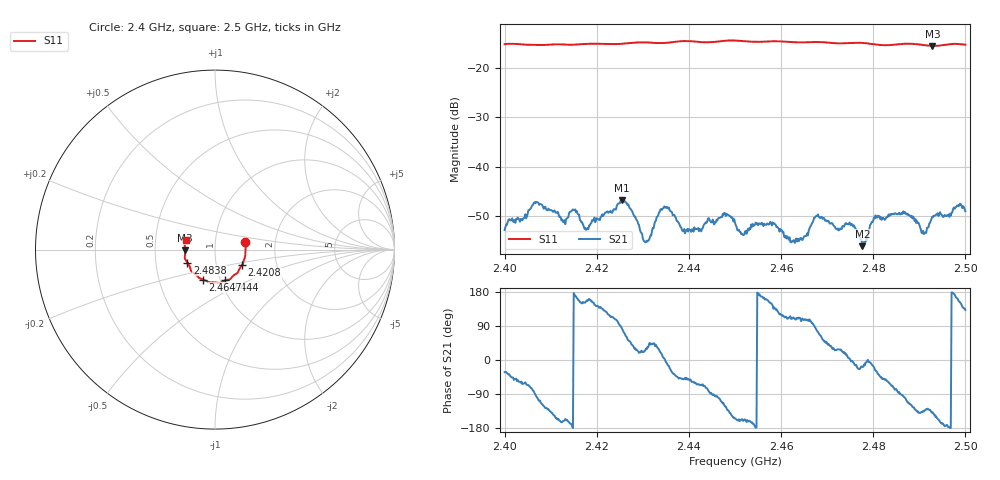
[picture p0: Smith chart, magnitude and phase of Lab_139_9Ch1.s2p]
# Hz S RI R 50
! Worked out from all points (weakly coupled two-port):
!   601 points, 2.4 GHz to 2.5 GHz, reference 50 ohm
!   highest |S21| = -46.87 dB at 2.4255 GHz (marker M1); lowest = -56.1 dB at 2.4777 GHz (marker M2)
!   lowest |S11| = -15.6 dB at 2.4928 GHz (marker M3), VSWR 1.40, Z = 35.8 - j0.35 ohm
!   |S11| at or under -10 dB: start of sweep to end of sweep
!   S12 and S22 are empty: the file has one direction only
!   S11 on the Smith chart (normalised r, x): 2.4 GHz: 1.40, +0.12; 2.4208 GHz: 1.33, -0.24; 2.444 GHz: 1.06, -0.37; 2.4647 GHz: 0.83, -0.29; 2.4838 GHz: 0.73, -0.11; 2.5 GHz: 0.72, +0.08
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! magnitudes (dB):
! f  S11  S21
! 2.4 GHz  -15.2  -52.9
! 2.4068 GHz  -15.4  -47.1
! 2.4167 GHz  -15.2  -51.3
! 2.4208 GHz  -15.2  -50.2
! 2.4255 GHz  -15.2  -46.9
! 2.4305 GHz  -14.9  -55.3
! 2.4333 GHz  -15.0  -49.9
! 2.4352 GHz  -15.0  -48.4
! 2.439 GHz  -14.6  -52.6
! 2.444 GHz  -14.9  -51.0
! 2.45 GHz  -14.5  -51.4
! 2.4647 GHz  -14.9  -54.9
! 2.4667 GHz  -14.8  -51.5
! 2.4753 GHz  -15.0  -51.7
! 2.4777 GHz  -15.0  -56.1
! 2.4805 GHz  -15.3  -49.9
! 2.4833 GHz  -15.5  -49.7
! 2.4838 GHz  -15.4  -49.7
! 2.4873 GHz  -15.2  -49.7
! 2.491 GHz  -15.4  -53.7
! 2.4928 GHz  -15.6  -50.1
! 2.5 GHz  -15.4  -49.0
